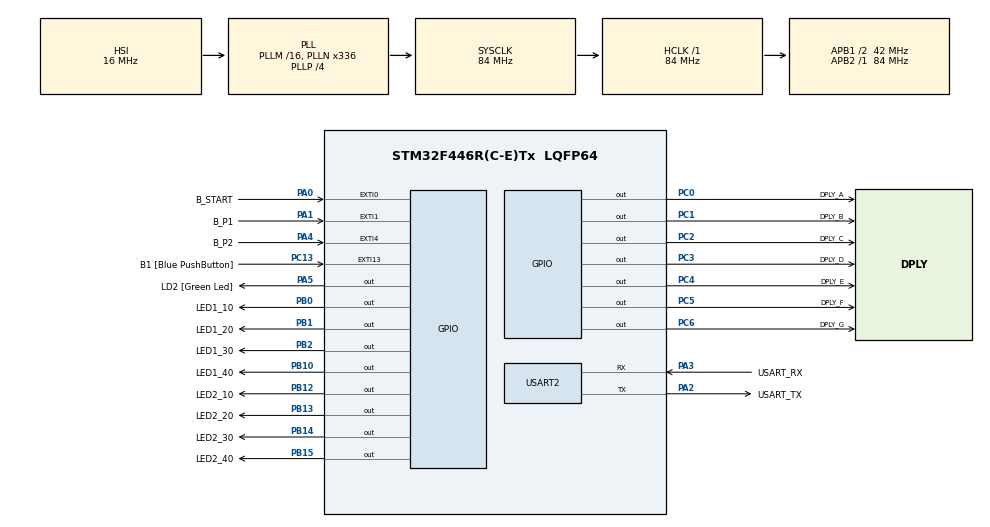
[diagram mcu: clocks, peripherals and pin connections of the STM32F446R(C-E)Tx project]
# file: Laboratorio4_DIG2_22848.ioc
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Mcu.Family=STM32F4
Mcu.Name=STM32F446R(C-E)Tx
Mcu.Package=LQFP64
NVIC.EXTI0_IRQn=true\:0\:0\:false\:false\:true\:true\:true\:true
NVIC.EXTI1_IRQn=true\:0\:0\:false\:false\:true\:true\:true\:true
NVIC.EXTI4_IRQn=true\:0\:0\:false\:false\:true\:true\:true\:true
NVIC.PriorityGroup=NVIC_PRIORITYGROUP_0
PA0-WKUP.GPIO_Label=B_START
PA0-WKUP.GPIO_ModeDefaultEXTI=GPIO_MODE_IT_FALLING
PA0-WKUP.GPIO_PuPd=GPIO_PULLUP
PA0-WKUP.Signal=GPXTI0
PA1.GPIO_Label=B_P1
PA1.GPIO_ModeDefaultEXTI=GPIO_MODE_IT_FALLING
PA1.GPIO_PuPd=GPIO_PULLUP
PA1.Signal=GPXTI1
PA13.GPIO_Label=TMS
PA13.Mode=Serial_Wire
PA13.Signal=SYS_JTMS-SWDIO
PA14.GPIO_Label=TCK
PA14.Mode=Serial_Wire
PA14.Signal=SYS_JTCK-SWCLK
PA2.GPIO_Label=USART_TX
PA2.Mode=Asynchronous
PA2.Signal=USART2_TX
PA3.GPIO_Label=USART_RX
PA3.Mode=Asynchronous
PA3.Signal=USART2_RX
PA4.GPIO_Label=B_P2
PA4.GPIO_ModeDefaultEXTI=GPIO_MODE_IT_FALLING
PA4.GPIO_PuPd=GPIO_PULLUP
PA4.Signal=GPXTI4
PA5.GPIO_Label=LD2 [Green Led]
PA5.Signal=GPIO_Output
PB0.GPIO_Label=LED1_10
PB0.Signal=GPIO_Output
PB1.GPIO_Label=LED1_20
PB1.Signal=GPIO_Output
PB10.GPIO_Label=LED1_40
PB10.Signal=GPIO_Output
PB12.GPIO_Label=LED2_10
PB12.Signal=GPIO_Output
PB13.GPIO_Label=LED2_20
PB13.Signal=GPIO_Output
PB14.GPIO_Label=LED2_30
PB14.Signal=GPIO_Output
PB15.GPIO_Label=LED2_40
PB15.Signal=GPIO_Output
PB2.GPIO_Label=LED1_30
PB2.Signal=GPIO_Output
PB3.GPIO_Label=SWO
PB3.Signal=SYS_JTDO-SWO
PC0.GPIO_Label=DPLY_A
PC0.Signal=GPIO_Output
PC1.GPIO_Label=DPLY_B
PC1.Signal=GPIO_Output
PC13.GPIO_Label=B1 [Blue PushButton]
PC13.GPIO_ModeDefaultEXTI=GPIO_MODE_IT_FALLING
PC13.Signal=GPXTI13
PC14-OSC32_IN.Mode=LSE-External-Oscillator
PC14-OSC32_IN.Signal=RCC_OSC32_IN
PC15-OSC32_OUT.Mode=LSE-External-Oscillator
PC15-OSC32_OUT.Signal=RCC_OSC32_OUT
PC2.GPIO_Label=DPLY_C
PC2.Signal=GPIO_Output
PC3.GPIO_Label=DPLY_D
PC3.Signal=GPIO_Output
PC4.GPIO_Label=DPLY_E
PC4.Signal=GPIO_Output
PC5.GPIO_Label=DPLY_F
PC5.Signal=GPIO_Output
PC6.GPIO_Label=DPLY_G
PC6.Signal=GPIO_Output
PH0-OSC_IN.Mode=HSE-External-Oscillator
PH0-OSC_IN.Signal=RCC_OSC_IN
PH1-OSC_OUT.Mode=HSE-External-Oscillator
PH1-OSC_OUT.Signal=RCC_OSC_OUT
ProjectManager.HeapSize=0x200
ProjectManager.StackSize=0x400
ProjectManager.TargetToolchain=STM32CubeIDE
RCC.48MHZClocksFreq_Value=84000000
RCC.AHBFreq_Value=84000000
RCC.APB1CLKDivider=RCC_HCLK_DIV2
RCC.APB1Freq_Value=42000000
RCC.APB1TimFreq_Value=84000000
RCC.APB2Freq_Value=84000000
RCC.APB2TimFreq_Value=84000000
RCC.CortexFreq_Value=84000000
RCC.FLatency-AdvancedSettings=FLASH_LATENCY_2
RCC.HCLKFreq_Value=84000000
RCC.HSE_VALUE=8000000
RCC.HSI_VALUE=16000000
RCC.PLLN=336
RCC.PLLP=RCC_PLLP_DIV4
RCC.SYSCLKFreq_VALUE=84000000
RCC.SYSCLKSource=RCC_SYSCLKSOURCE_PLLCLK
RCC.USBFreq_Value=168000000
RCC.VCOOutputFreq_Value=336000000
USART2.VirtualMode=VM_ASYNC
board=NUCLEO-F446RE

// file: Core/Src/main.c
/* USER CODE BEGIN Header */
/**
  ******************************************************************************
  * @file           : main.c
  * @brief          : Main program body
  ******************************************************************************
  * @attention
  *
  * Copyright (c) 2026 STMicroelectronics.
  * All rights reserved.
  *
  * This software is licensed under terms that can be found in the LICENSE file
  * in the root directory of this software component.
  * If no LICENSE file comes with this software, it is provided AS-IS.
  *
  ******************************************************************************
  */
/* USER CODE END Header */
#include "main.h"

/* USER CODE BEGIN Includes */
#include "stdint.h"
/* USER CODE END Includes */

UART_HandleTypeDef huart2;

/* USER CODE BEGIN PV */
uint8_t contador1 = 0;
uint8_t contador2 = 0;

typedef enum{
	ESTADO_ESPERA,
	ESTADO_CUENTA_REGRESIVA,
	ESTADO_JUGANDO,
	ESTADO_GANADOR
}EstadoJuego;

EstadoJuego estado = ESTADO_ESPERA;

uint8_t cuenta = 5;
uint32_t tiempoAnterior = 0;

/* USER CODE END PV */

void SystemClock_Config(void);
static void MX_GPIO_Init(void);
static void MX_USART2_UART_Init(void);

/* USER CODE BEGIN 0 */
void ActualizarLEDs1(uint8_t pos);
void ActualizarLEDs2(uint8_t pos);
void ActualizarGANADOR1(uint8_t a);
void ActualizarGANADOR2(uint8_t b);
void MostrarNumero(uint8_t valor);
/* USER CODE END 0 */

int main(void)
{

  /* MCU Configuration--------------------------------------------------------*/

  /* Reset of all peripherals, Initializes the Flash interface and the Systick. */
  HAL_Init();

  /* Configure the system clock */
  SystemClock_Config();

  /* Initialize all configured peripherals */
  MX_GPIO_Init();
  MX_USART2_UART_Init();

  /* Infinite loop */
  /* USER CODE BEGIN WHILE */
  while (1)
  {
	  if (estado == ESTADO_CUENTA_REGRESIVA){
		  if(HAL_GetTick() -  tiempoAnterior >= 1000){ // Cuenta de 1000 ms
			  tiempoAnterior = HAL_GetTick(); // Guardamos el valor actual del timepo

			  if(cuenta > 0){
				  cuenta--; //Disminuimos le contador
				  MostrarNumero(cuenta);
			  }
			  else{
				  estado = ESTADO_JUGANDO;
			  }
		  }
	  }

    /* USER CODE END WHILE */

  }
}

void SystemClock_Config(void)
{
  RCC_OscInitTypeDef RCC_OscInitStruct = {0};
  RCC_ClkInitTypeDef RCC_ClkInitStruct = {0};

  /** Configure the main internal regulator output voltage
  */
  __HAL_RCC_PWR_CLK_ENABLE();
  __HAL_PWR_VOLTAGESCALING_CONFIG(PWR_REGULATOR_VOLTAGE_SCALE3);

  /** Initializes the RCC Oscillators according to the specified parameters
  * in the RCC_OscInitTypeDef structure.
  */
  RCC_OscInitStruct.OscillatorType = RCC_OSCILLATORTYPE_HSI;
  RCC_OscInitStruct.HSIState = RCC_HSI_ON;
  RCC_OscInitStruct.HSICalibrationValue = RCC_HSICALIBRATION_DEFAULT;
  RCC_OscInitStruct.PLL.PLLState = RCC_PLL_ON;
  RCC_OscInitStruct.PLL.PLLSource = RCC_PLLSOURCE_HSI;
  RCC_OscInitStruct.PLL.PLLM = 16;
  RCC_OscInitStruct.PLL.PLLN = 336;
  RCC_OscInitStruct.PLL.PLLP = RCC_PLLP_DIV4;
  RCC_OscInitStruct.PLL.PLLQ = 2;
  RCC_OscInitStruct.PLL.PLLR = 2;
  if (HAL_RCC_OscConfig(&RCC_OscInitStruct) != HAL_OK)
  {
    Error_Handler();
  }

  /** Initializes the CPU, AHB and APB buses clocks
  */
  RCC_ClkInitStruct.ClockType = RCC_CLOCKTYPE_HCLK|RCC_CLOCKTYPE_SYSCLK
                              |RCC_CLOCKTYPE_PCLK1|RCC_CLOCKTYPE_PCLK2;
  RCC_ClkInitStruct.SYSCLKSource = RCC_SYSCLKSOURCE_PLLCLK;
  RCC_ClkInitStruct.AHBCLKDivider = RCC_SYSCLK_DIV1;
  RCC_ClkInitStruct.APB1CLKDivider = RCC_HCLK_DIV2;
  RCC_ClkInitStruct.APB2CLKDivider = RCC_HCLK_DIV1;

  if (HAL_RCC_ClockConfig(&RCC_ClkInitStruct, FLASH_LATENCY_2) != HAL_OK)
  {
    Error_Handler();
  }
}

static void MX_USART2_UART_Init(void)
{

  huart2.Instance = USART2;
  huart2.Init.BaudRate = 115200;
  huart2.Init.WordLength = UART_WORDLENGTH_8B;
  huart2.Init.StopBits = UART_STOPBITS_1;
  huart2.Init.Parity = UART_PARITY_NONE;
  huart2.Init.Mode = UART_MODE_TX_RX;
  huart2.Init.HwFlowCtl = UART_HWCONTROL_NONE;
  huart2.Init.OverSampling = UART_OVERSAMPLING_16;
  if (HAL_UART_Init(&huart2) != HAL_OK)
  {
    Error_Handler();
  }

}

static void MX_GPIO_Init(void)
{
  GPIO_InitTypeDef GPIO_InitStruct = {0};

  /* GPIO Ports Clock Enable */
  __HAL_RCC_GPIOC_CLK_ENABLE();
  __HAL_RCC_GPIOH_CLK_ENABLE();
  __HAL_RCC_GPIOA_CLK_ENABLE();
  __HAL_RCC_GPIOB_CLK_ENABLE();

  /*Configure GPIO pin Output Level */
  HAL_GPIO_WritePin(GPIOC, DPLY_A_Pin|DPLY_B_Pin|DPLY_C_Pin|DPLY_D_Pin
                          |DPLY_E_Pin|DPLY_F_Pin|DPLY_G_Pin, GPIO_PIN_RESET);

  /*Configure GPIO pin Output Level */
  HAL_GPIO_WritePin(LD2_GPIO_Port, LD2_Pin, GPIO_PIN_RESET);

  /*Configure GPIO pin Output Level */
  HAL_GPIO_WritePin(GPIOB, LED1_10_Pin|LED1_20_Pin|LED1_30_Pin|LED1_40_Pin
                          |LED2_10_Pin|LED2_20_Pin|LED2_30_Pin|LED2_40_Pin, GPIO_PIN_RESET);

  /*Configure GPIO pin : B1_Pin */
  GPIO_InitStruct.Pin = B1_Pin;
  GPIO_InitStruct.Mode = GPIO_MODE_IT_FALLING;
  GPIO_InitStruct.Pull = GPIO_NOPULL;
  HAL_GPIO_Init(B1_GPIO_Port, &GPIO_InitStruct);

  /*Configure GPIO pins : DPLY_A_Pin DPLY_B_Pin DPLY_C_Pin DPLY_D_Pin
                           DPLY_E_Pin DPLY_F_Pin DPLY_G_Pin */
  GPIO_InitStruct.Pin = DPLY_A_Pin|DPLY_B_Pin|DPLY_C_Pin|DPLY_D_Pin
                          |DPLY_E_Pin|DPLY_F_Pin|DPLY_G_Pin;
  GPIO_InitStruct.Mode = GPIO_MODE_OUTPUT_PP;
  GPIO_InitStruct.Pull = GPIO_NOPULL;
  GPIO_InitStruct.Speed = GPIO_SPEED_FREQ_LOW;
  HAL_GPIO_Init(GPIOC, &GPIO_InitStruct);

  /*Configure GPIO pins : B_START_Pin B_P1_Pin B_P2_Pin */
  GPIO_InitStruct.Pin = B_START_Pin|B_P1_Pin|B_P2_Pin;
  GPIO_InitStruct.Mode = GPIO_MODE_IT_FALLING;
  GPIO_InitStruct.Pull = GPIO_PULLUP;
  HAL_GPIO_Init(GPIOA, &GPIO_InitStruct);

  /*Configure GPIO pin : LD2_Pin */
  GPIO_InitStruct.Pin = LD2_Pin;
  GPIO_InitStruct.Mode = GPIO_MODE_OUTPUT_PP;
  GPIO_InitStruct.Pull = GPIO_NOPULL;
  GPIO_InitStruct.Speed = GPIO_SPEED_FREQ_LOW;
  HAL_GPIO_Init(LD2_GPIO_Port, &GPIO_InitStruct);

  /*Configure GPIO pins : LED1_10_Pin LED1_20_Pin LED1_30_Pin LED1_40_Pin
                           LED2_10_Pin LED2_20_Pin LED2_30_Pin LED2_40_Pin */
  GPIO_InitStruct.Pin = LED1_10_Pin|LED1_20_Pin|LED1_30_Pin|LED1_40_Pin
                          |LED2_10_Pin|LED2_20_Pin|LED2_30_Pin|LED2_40_Pin;
  GPIO_InitStruct.Mode = GPIO_MODE_OUTPUT_PP;
  GPIO_InitStruct.Pull = GPIO_NOPULL;
  GPIO_InitStruct.Speed = GPIO_SPEED_FREQ_LOW;
  HAL_GPIO_Init(GPIOB, &GPIO_InitStruct);

  /* EXTI interrupt init*/
  HAL_NVIC_SetPriority(EXTI0_IRQn, 0, 0);
  HAL_NVIC_EnableIRQ(EXTI0_IRQn);

  HAL_NVIC_SetPriority(EXTI1_IRQn, 0, 0);
  HAL_NVIC_EnableIRQ(EXTI1_IRQn);

  HAL_NVIC_SetPriority(EXTI4_IRQn, 0, 0);
  HAL_NVIC_EnableIRQ(EXTI4_IRQn);

}

/* USER CODE BEGIN 4 */
void ActualizarLEDs1(uint8_t pos){

	HAL_GPIO_WritePin(LED1_10_GPIO_Port,LED1_10_Pin,(pos==1)?GPIO_PIN_SET:GPIO_PIN_RESET);//Preguntamos si el valor ingresado es menor o mayor para prednerlo
	HAL_GPIO_WritePin(LED1_20_GPIO_Port,LED1_20_Pin,(pos==2)?GPIO_PIN_SET:GPIO_PIN_RESET);
	HAL_GPIO_WritePin(LED1_30_GPIO_Port,LED1_30_Pin,(pos==3)?GPIO_PIN_SET:GPIO_PIN_RESET);
	HAL_GPIO_WritePin(LED1_40_GPIO_Port,LED1_40_Pin,(pos==4)?GPIO_PIN_SET:GPIO_PIN_RESET);
}

void ActualizarLEDs2(uint8_t pos){

	HAL_GPIO_WritePin(LED2_10_GPIO_Port,LED2_10_Pin,(pos==1)?GPIO_PIN_SET:GPIO_PIN_RESET);//Preguntamos si el valor ingresado es menor o mayor para prednerlo
	HAL_GPIO_WritePin(LED2_20_GPIO_Port,LED2_20_Pin,(pos==2)?GPIO_PIN_SET:GPIO_PIN_RESET);
	HAL_GPIO_WritePin(LED2_30_GPIO_Port,LED2_30_Pin,(pos==3)?GPIO_PIN_SET:GPIO_PIN_RESET);
	HAL_GPIO_WritePin(LED2_40_GPIO_Port,LED2_40_Pin,(pos==4)?GPIO_PIN_SET:GPIO_PIN_RESET);

}

void ActualizarGANADOR1(uint8_t a){
HAL_GPIO_WritePin(LED1_10_GPIO_Port,LED1_10_Pin,(a >= 1)? GPIO_PIN_SET:GPIO_PIN_RESET);//Preguntamos si el valor ingresado es menor o mayor para prednerlo
HAL_GPIO_WritePin(LED1_20_GPIO_Port,LED1_20_Pin,(a >= 2)? GPIO_PIN_SET:GPIO_PIN_RESET);
HAL_GPIO_WritePin(LED1_30_GPIO_Port,LED1_30_Pin,(a >= 3)? GPIO_PIN_SET:GPIO_PIN_RESET);
HAL_GPIO_WritePin(LED1_40_GPIO_Port,LED1_40_Pin,(a >= 4)? GPIO_PIN_SET:GPIO_PIN_RESET);
}

void ActualizarGANADOR2(uint8_t b){
HAL_GPIO_WritePin(LED2_10_GPIO_Port,LED2_10_Pin,(b >= 1) ? GPIO_PIN_SET:GPIO_PIN_RESET);//Preguntamos si el valor ingresado es menor o mayor para prednerlo
HAL_GPIO_WritePin(LED2_20_GPIO_Port,LED2_20_Pin,(b >= 2)? GPIO_PIN_SET:GPIO_PIN_RESET);
HAL_GPIO_WritePin(LED2_30_GPIO_Port,LED2_30_Pin,(b >= 3)? GPIO_PIN_SET:GPIO_PIN_RESET);
HAL_GPIO_WritePin(LED2_40_GPIO_Port,LED2_40_Pin,(b >= 4)? GPIO_PIN_SET:GPIO_PIN_RESET);
}

void MostrarNumero(uint8_t valor){

	uint8_t display = 0;

	switch(valor) {
		case 0:

			display = 0b0111111;
			break;

		case 1:

			display = 0b0000110;
			break;

		case 2:

			display = 0b1011011;
			break;

		case 3:

			display = 0b1001111;
			break;

		case 4:

			display = 0b1100110;
			break;

		case 5:

			display = 0b1101101;
			break;

		default:

			display = 0;
			break;
	}
	//Revisar y encender bits
	// Esta estructura es similar a la utilizada para la LCD por pablo.
	HAL_GPIO_WritePin(DPLY_A_GPIO_Port,DPLY_A_Pin,(display & 0x01)?GPIO_PIN_SET:GPIO_PIN_RESET);
	HAL_GPIO_WritePin(DPLY_B_GPIO_Port,DPLY_B_Pin,(display & 0x02)?GPIO_PIN_SET:GPIO_PIN_RESET);
	HAL_GPIO_WritePin(DPLY_C_GPIO_Port,DPLY_C_Pin,(display & 0x04)?GPIO_PIN_SET:GPIO_PIN_RESET);
	HAL_GPIO_WritePin(DPLY_D_GPIO_Port,DPLY_D_Pin,(display & 0x08)?GPIO_PIN_SET:GPIO_PIN_RESET);
	HAL_GPIO_WritePin(DPLY_E_GPIO_Port,DPLY_E_Pin,(display & 0x10)?GPIO_PIN_SET:GPIO_PIN_RESET);
	HAL_GPIO_WritePin(DPLY_F_GPIO_Port,DPLY_F_Pin,(display & 0x20)?GPIO_PIN_SET:GPIO_PIN_RESET);
	HAL_GPIO_WritePin(DPLY_G_GPIO_Port,DPLY_G_Pin,(display & 0x40)?GPIO_PIN_SET:GPIO_PIN_RESET);
}

//Interupcion
void HAL_GPIO_EXTI_Callback(uint16_t GPIO_Pin)
{
	if(GPIO_Pin == B_START_Pin){ //START

		if(estado == ESTADO_GANADOR){ //Reiniciar cuando termine uno
			contador1 = 0;
			contador2 = 0;
			ActualizarLEDs1(0);
			ActualizarLEDs2(0);
			estado = ESTADO_ESPERA;
		}

		if(estado == ESTADO_ESPERA){
			cuenta = 5;
			estado = ESTADO_CUENTA_REGRESIVA;
			tiempoAnterior = HAL_GetTick();
			MostrarNumero(cuenta);
		}
	}

	if(GPIO_Pin == B_P1_Pin){//jugador 1
		if (estado == ESTADO_JUGANDO){

			if(contador2<4){//Revisar que no haya ganado
				contador1++;
				ActualizarLEDs1(contador1);
			}
			if(contador1 == 4){
				ActualizarGANADOR1(contador1);
				estado = ESTADO_GANADOR;
				MostrarNumero(1);
			}
		}
	}

	if(GPIO_Pin == B_P2_Pin){ //jugador 2
		if(estado == ESTADO_JUGANDO){

			if(contador1<4){
				contador2++;
				ActualizarLEDs2(contador2);
			}

			if(contador2 == 4){
				ActualizarGANADOR2(contador2);
				estado =  ESTADO_GANADOR;
				MostrarNumero(2);
			}
		}
	}
}

/* USER CODE END 4 */

void Error_Handler(void)
{
  __disable_irq();
  while (1)
  {
  }
}
